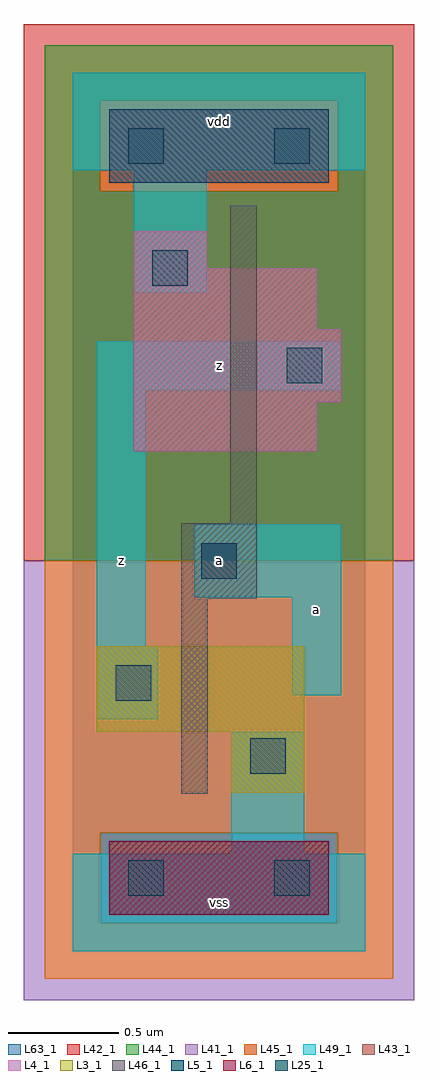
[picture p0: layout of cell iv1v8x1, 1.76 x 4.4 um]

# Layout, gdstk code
import gdstk
lib = gdstk.Library(unit=1e-6, precision=1e-09)
def R(c, l, rs):  # rectangles x0, y0, x1, y1
    for r in rs: c.add(gdstk.rectangle(r[:2], r[2:], *l))
L3_1 = (3, 1)
L4_1 = (4, 1)
L5_1 = (5, 1)
L6_1 = (6, 1)
L25_1 = (25, 1)
L41_1 = (41, 1)
L42_1 = (42, 1)
L43_1 = (43, 1)
L44_1 = (44, 1)
L45_1 = (45, 1)
L46_1 = (46, 1)
L49_1 = (49, 1)
L63_1 = (63, 1)

iv1v8x1 = lib.new_cell('iv1v8x1')
R(iv1v8x1, L3_1, [(0.715,0.715,1.045,0.99), (0.11,0.99,1.045,1.375)])
R(iv1v8x1, L4_1, [(0.275,2.255,1.1,2.475), (0.275,2.475,1.21,2.805), (0.275,2.805,1.1,3.08), (0.275,3.08,0.605,3.245)])
R(iv1v8x1, L5_1, [(0.165,3.465,1.155,3.795)])
R(iv1v8x1, L6_1, [(0.165,0.165,1.155,0.495)])
R(iv1v8x1, L25_1, [(0.25,0.25,0.41,0.41), (0.91,0.25,1.07,0.41), (0.8,0.8,0.96,0.96), (0.195,1.13,0.355,1.29), (0.58,1.68,0.74,1.84), (0.965,2.56,1.125,2.72), (0.36,3,0.52,3.16), (0.25,3.55,0.41,3.71), (0.91,3.55,1.07,3.71)])
R(iv1v8x1, L41_1, [(-0.22,-0.22,1.54,1.76)])
R(iv1v8x1, L42_1, [(-0.22,1.76,1.54,4.18)])
R(iv1v8x1, L43_1, [(0.165,0.165,1.155,0.495), (0.715,0.715,1.045,0.99), (0.11,0.99,1.045,1.375), (0.275,2.255,1.1,2.475), (0.275,2.475,1.21,2.805), (0.275,2.805,1.1,3.08), (0.275,3.08,0.605,3.245), (0.165,3.465,1.155,3.795)])
R(iv1v8x1, L44_1, [(0.125,0.125,1.195,0.535), (-0.125,1.76,1.445,3.425), (-0.125,3.425,0.125,3.835), (1.195,3.425,1.445,3.835), (-0.125,3.835,1.445,4.085)])
R(iv1v8x1, L45_1, [(-0.125,-0.125,1.445,0.125), (-0.125,0.125,0.125,0.535), (1.195,0.125,1.445,0.535), (-0.125,0.535,1.445,1.76), (0.125,3.425,1.195,3.835)])
R(iv1v8x1, L46_1, [(0.49,0.71,0.61,1.59), (0.49,1.59,0.83,1.93), (0.71,1.93,0.83,3.36)])
R(iv1v8x1, L49_1, [(0,0,1.32,0.44), (0.715,0.44,1.045,0.99), (0.11,1.045,0.385,1.375), (0.99,1.155,1.21,1.595), (0.11,1.375,0.33,2.53), (0.55,1.595,1.21,1.925), (0.11,2.53,1.21,2.75), (0.275,2.97,0.605,3.52), (0,3.52,1.32,3.96)])
R(iv1v8x1, L63_1, [(0,0,1.32,3.96)])
iv1v8x1.add(gdstk.Label('z', (0.22,1.76), layer=49, texttype=1))
iv1v8x1.add(gdstk.Label('vss', (0.66,0.22), layer=49, texttype=1))
iv1v8x1.add(gdstk.Label('a', (0.66,1.76), layer=49, texttype=1))
iv1v8x1.add(gdstk.Label('z', (0.66,2.64), layer=49, texttype=1))
iv1v8x1.add(gdstk.Label('vdd', (0.66,3.74), layer=49, texttype=1))
iv1v8x1.add(gdstk.Label('a', (1.1,1.54), layer=49, texttype=1))

lib.write_gds('iv1v8x1.gds')
